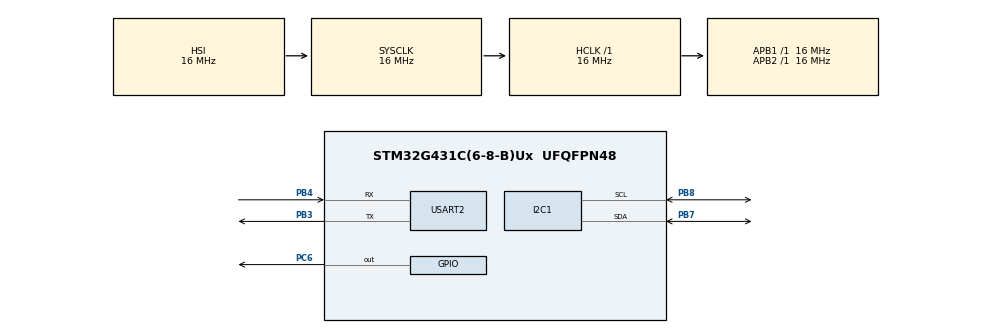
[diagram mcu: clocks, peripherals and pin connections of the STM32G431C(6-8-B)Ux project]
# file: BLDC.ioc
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I2C1.Timing=0x00503D58
Mcu.Family=STM32G4
Mcu.Name=STM32G431C(6-8-B)Ux
Mcu.Package=UFQFPN48
NVIC.PriorityGroup=NVIC_PRIORITYGROUP_4
PB3.Mode=Asynchronous
PB3.Signal=USART2_TX
PB4.Mode=Asynchronous
PB4.Signal=USART2_RX
PB7.Mode=I2C
PB7.Signal=I2C1_SDA
PB8-BOOT0.Mode=I2C
PB8-BOOT0.Signal=I2C1_SCL
PC6.Signal=GPIO_Output
ProjectManager.HeapSize=0x200
ProjectManager.StackSize=0x400
ProjectManager.TargetToolchain=STM32CubeIDE
RCC.AHBFreq_Value=16000000
RCC.APB1Freq_Value=16000000
RCC.APB1TimFreq_Value=16000000
RCC.APB2Freq_Value=16000000
RCC.APB2TimFreq_Value=16000000
RCC.CortexFreq_Value=16000000
RCC.EXTERNAL_CLOCK_VALUE=12288000
RCC.HCLKFreq_Value=16000000
RCC.HSE_VALUE=8000000
RCC.HSI48_VALUE=48000000
RCC.HSI_VALUE=16000000
RCC.LSE_VALUE=32768
RCC.SYSCLKFreq_VALUE=16000000
RCC.USBFreq_Value=64000000
RCC.VCOOutputFreq_Value=128000000
USART2.VirtualMode-Asynchronous=VM_ASYNC
VP_SYS_VS_DBSignals.Mode=DisableDeadBatterySignals
board=custom

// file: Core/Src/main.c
/* USER CODE BEGIN Header */
/**
  ******************************************************************************
  * @file           : main.c
  * @brief          : Main program body
  ******************************************************************************
  * @attention
  *
  * Copyright (c) 2025 STMicroelectronics.
  * All rights reserved.
  *
  * This software is licensed under terms that can be found in the LICENSE file
  * in the root directory of this software component.
  * If no LICENSE file comes with this software, it is provided AS-IS.
  *
  ******************************************************************************
  */
/* USER CODE END Header */
#include "main.h"
#include "AS5600.h"
#include <stdio.h>

I2C_HandleTypeDef hi2c1;

UART_HandleTypeDef huart2;

void SystemClock_Config(void);
static void MX_GPIO_Init(void);
static void MX_I2C1_Init(void);
static void MX_USART2_UART_Init(void);
int _write(int file, char *ptr, int len) { HAL_UART_Transmit(&huart2, (uint8_t*)ptr, len, HAL_MAX_DELAY); return len; }

/* USER CODE BEGIN 0 */

#if 0
// printf function
#ifdef __GNUC__
/* With GCC, small printf (option LD Linker->Libraries->Small printf
 * set to 'Yes') calls __io_puchar()
 */
	#define PUTCHAR_PROTOTYPE int __io_putchar(int ch)
#else
	#define PUTCHAR_PROTOTYPE int fputc(int ch, FILE *f)
#endif /* __GNUC__ */
PUTCHAR_PROTOTYPE
{
	/* Place your implementation of fputc here */
	/* e.g. write a character to the EVAL_COM1 and Loop until the end of transmission */
	HAL_UART_Transmit (&huart2, (uint8_t *)&ch, 1, 0xFFFF);

	return ch;
}
#endif

/* USER CODE END 0 */

int main(void)
{

  /* MCU Configuration--------------------------------------------------------*/

  /* Reset of all peripherals, Initializes the Flash interface and the Systick. */
  HAL_Init();

  /* Configure the system clock */
  SystemClock_Config();

  /* Initialize all configured peripherals */
  MX_GPIO_Init();
  MX_I2C1_Init();
  MX_USART2_UART_Init();

  /* Infinite loop */
  while (1)
  {

    /* USER CODE BEGIN 3 */
	  HAL_GPIO_TogglePin(GPIOC, GPIO_PIN_6);  // Toggle PC6
      HAL_Delay(500);                         // Wait 500 ms

	    uint8_t status = AS5600_ReadStatus();
	    uint16_t angle = AS5600_ReadAngle(AS5600_RAW_ANGLE_REG);
	    printf("Status: 0x%02X, Raw Angle: %u\r\n", status, angle);

	    AS5600_CheckError(status);

#if 0
	  HAL_GPIO_TogglePin(GPIOC, GPIO_PIN_6);  // Toggle PC6
      HAL_Delay(500);                         // Wait 500 ms

      uint16_t angle = AS5600_ReadAngleStatus();
//      float angle_deg = (angle * 360.0f) / 4096.0f;

///      printf("Angle: %.2f deg\r\n", angle_deg);

      HAL_Delay(500);

//      uint8_t msg[] = "Hello from ESC board\r\n";
//      HAL_UART_Transmit(&huart2, msg, sizeof(msg)-1, HAL_MAX_DELAY);
#endif
  }
  /* USER CODE END 3 */
}

void SystemClock_Config(void)
{
  RCC_OscInitTypeDef RCC_OscInitStruct = {0};
  RCC_ClkInitTypeDef RCC_ClkInitStruct = {0};

  /** Configure the main internal regulator output voltage
  */
  HAL_PWREx_ControlVoltageScaling(PWR_REGULATOR_VOLTAGE_SCALE1);

  /** Initializes the RCC Oscillators according to the specified parameters
  * in the RCC_OscInitTypeDef structure.
  */
  RCC_OscInitStruct.OscillatorType = RCC_OSCILLATORTYPE_HSI;
  RCC_OscInitStruct.HSIState = RCC_HSI_ON;
  RCC_OscInitStruct.HSICalibrationValue = RCC_HSICALIBRATION_DEFAULT;
  RCC_OscInitStruct.PLL.PLLState = RCC_PLL_NONE;
  if (HAL_RCC_OscConfig(&RCC_OscInitStruct) != HAL_OK)
  {
    Error_Handler();
  }

  /** Initializes the CPU, AHB and APB buses clocks
  */
  RCC_ClkInitStruct.ClockType = RCC_CLOCKTYPE_HCLK|RCC_CLOCKTYPE_SYSCLK
                              |RCC_CLOCKTYPE_PCLK1|RCC_CLOCKTYPE_PCLK2;
  RCC_ClkInitStruct.SYSCLKSource = RCC_SYSCLKSOURCE_HSI;
  RCC_ClkInitStruct.AHBCLKDivider = RCC_SYSCLK_DIV1;
  RCC_ClkInitStruct.APB1CLKDivider = RCC_HCLK_DIV1;
  RCC_ClkInitStruct.APB2CLKDivider = RCC_HCLK_DIV1;

  if (HAL_RCC_ClockConfig(&RCC_ClkInitStruct, FLASH_LATENCY_0) != HAL_OK)
  {
    Error_Handler();
  }
}

static void MX_I2C1_Init(void)
{

  hi2c1.Instance = I2C1;
  hi2c1.Init.Timing = 0x00503D58;
  hi2c1.Init.OwnAddress1 = 0;
  hi2c1.Init.AddressingMode = I2C_ADDRESSINGMODE_7BIT;
  hi2c1.Init.DualAddressMode = I2C_DUALADDRESS_DISABLE;
  hi2c1.Init.OwnAddress2 = 0;
  hi2c1.Init.OwnAddress2Masks = I2C_OA2_NOMASK;
  hi2c1.Init.GeneralCallMode = I2C_GENERALCALL_DISABLE;
  hi2c1.Init.NoStretchMode = I2C_NOSTRETCH_DISABLE;
  if (HAL_I2C_Init(&hi2c1) != HAL_OK)
  {
    Error_Handler();
  }

  /** Configure Analogue filter
  */
  if (HAL_I2CEx_ConfigAnalogFilter(&hi2c1, I2C_ANALOGFILTER_ENABLE) != HAL_OK)
  {
    Error_Handler();
  }

  /** Configure Digital filter
  */
  if (HAL_I2CEx_ConfigDigitalFilter(&hi2c1, 0) != HAL_OK)
  {
    Error_Handler();
  }

}

static void MX_USART2_UART_Init(void)
{

  huart2.Instance = USART2;
  huart2.Init.BaudRate = 115200;
  huart2.Init.WordLength = UART_WORDLENGTH_8B;
  huart2.Init.StopBits = UART_STOPBITS_1;
  huart2.Init.Parity = UART_PARITY_NONE;
  huart2.Init.Mode = UART_MODE_TX_RX;
  huart2.Init.HwFlowCtl = UART_HWCONTROL_NONE;
  huart2.Init.OverSampling = UART_OVERSAMPLING_16;
  huart2.Init.OneBitSampling = UART_ONE_BIT_SAMPLE_DISABLE;
  huart2.Init.ClockPrescaler = UART_PRESCALER_DIV1;
  huart2.AdvancedInit.AdvFeatureInit = UART_ADVFEATURE_NO_INIT;
  if (HAL_UART_Init(&huart2) != HAL_OK)
  {
    Error_Handler();
  }
  if (HAL_UARTEx_SetTxFifoThreshold(&huart2, UART_TXFIFO_THRESHOLD_1_8) != HAL_OK)
  {
    Error_Handler();
  }
  if (HAL_UARTEx_SetRxFifoThreshold(&huart2, UART_RXFIFO_THRESHOLD_1_8) != HAL_OK)
  {
    Error_Handler();
  }
  if (HAL_UARTEx_DisableFifoMode(&huart2) != HAL_OK)
  {
    Error_Handler();
  }

}

static void MX_GPIO_Init(void)
{
  GPIO_InitTypeDef GPIO_InitStruct = {0};

  /* GPIO Ports Clock Enable */
  __HAL_RCC_GPIOC_CLK_ENABLE();
  __HAL_RCC_GPIOB_CLK_ENABLE();

  /*Configure GPIO pin Output Level */
  HAL_GPIO_WritePin(GPIOC, GPIO_PIN_6, GPIO_PIN_RESET);

  /*Configure GPIO pin : PC6 */
  GPIO_InitStruct.Pin = GPIO_PIN_6;
  GPIO_InitStruct.Mode = GPIO_MODE_OUTPUT_PP;
  GPIO_InitStruct.Pull = GPIO_NOPULL;
  GPIO_InitStruct.Speed = GPIO_SPEED_FREQ_LOW;
  HAL_GPIO_Init(GPIOC, &GPIO_InitStruct);

}

void Error_Handler(void)
{
  __disable_irq();
  while (1)
  {
  }
}
